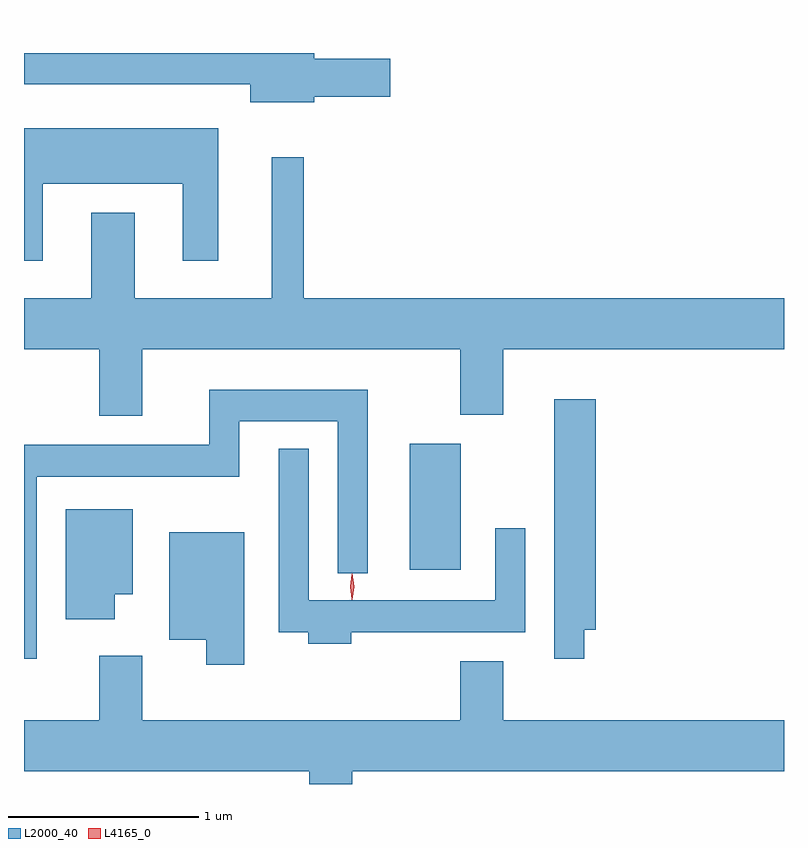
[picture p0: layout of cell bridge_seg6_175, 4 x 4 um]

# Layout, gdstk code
import gdstk
lib = gdstk.Library(unit=1e-6, precision=1e-09)
def R(c, l, rs):  # rectangles x0, y0, x1, y1
    for r in rs: c.add(gdstk.rectangle(r[:2], r[2:], *l))
def P(c, l, *ps):  # polygons
    for p in ps: c.add(gdstk.Polygon(p, *l))
L2000_40 = (2000, 40)
L4165_0 = (4165, 0)

bridge_seg6_175 = lib.new_cell('bridge_seg6_175')
R(bridge_seg6_175, L2000_40, [(1051.086,1575.516,1051.354,1576.179), (1049.056,1578.386,1050.099,1578.388)])
P(bridge_seg6_175, L2000_40, [(1050.584,1578.006),(1050.984,1578.006),(1050.984,1578.204),(1050.584,1578.204),(1050.584,1578.234),(1049.056,1578.234),(1049.056,1578.071),(1050.246,1578.071),(1050.246,1577.976),(1050.584,1577.976)],
  [(1049.154,1577.546),(1049.891,1577.546),(1049.891,1577.141),(1050.079,1577.141),(1050.079,1577.839),(1049.056,1577.839),(1049.056,1577.141),(1049.154,1577.141)],
  [(1049.679,1576.676),(1051.351,1576.676),(1051.351,1576.331),(1051.579,1576.331),(1051.579,1576.676),(1053.056,1576.676),(1053.056,1576.944),(1050.529,1576.944),(1050.529,1577.688),(1050.361,1577.688),(1050.361,1576.944),(1049.639,1576.944),(1049.639,1577.394),(1049.411,1577.394),(1049.411,1576.944),(1049.056,1576.944),(1049.056,1576.676),(1049.451,1576.676),(1049.451,1576.326),(1049.679,1576.326)],
  [(1049.124,1576.006),(1050.189,1576.006),(1050.189,1576.296),(1050.706,1576.296),(1050.706,1575.498),(1050.864,1575.498),(1050.864,1576.464),(1050.031,1576.464),(1050.031,1576.174),(1049.056,1576.174),(1049.056,1575.048),(1049.124,1575.048)],
  [(1052.004,1575.201),(1052.064,1575.201),(1052.064,1576.414),(1051.846,1576.414),(1051.846,1575.048),(1052.004,1575.048)],
  [(1050.779,1575.186),(1051.694,1575.186),(1051.694,1575.733),(1051.536,1575.733),(1051.536,1575.354),(1050.554,1575.354),(1050.554,1576.153),(1050.396,1576.153),(1050.396,1575.186),(1050.551,1575.186),(1050.551,1575.126),(1050.779,1575.126)],
  [(1049.534,1575.386),(1049.629,1575.386),(1049.629,1575.834),(1049.276,1575.834),(1049.276,1575.256),(1049.534,1575.256)],
  [(1050.214,1575.714),(1049.821,1575.714),(1049.821,1575.146),(1050.016,1575.146),(1050.016,1575.016),(1050.214,1575.016)],
  [(1050.784,1574.456),(1053.056,1574.456),(1053.056,1574.724),(1051.579,1574.724),(1051.579,1575.034),(1051.351,1575.034),(1051.351,1574.724),(1049.679,1574.724),(1049.679,1575.064),(1049.451,1575.064),(1049.451,1574.724),(1049.056,1574.724),(1049.056,1574.456),(1050.556,1574.456),(1050.556,1574.388),(1050.784,1574.388)])
P(bridge_seg6_175, L4165_0, [(1050.782,1575.359),(1050.782,1575.36),(1050.772,1575.426),(1050.782,1575.493),(1050.782,1575.493),(1050.783,1575.493),(1050.792,1575.426),(1050.783,1575.36)],
  [(1050.784,1575.357),(1050.783,1575.358),(1050.774,1575.427),(1050.783,1575.496),(1050.784,1575.496),(1050.784,1575.496),(1050.793,1575.427),(1050.784,1575.358)])

lib.write_gds('bridge_seg6_175.gds')
